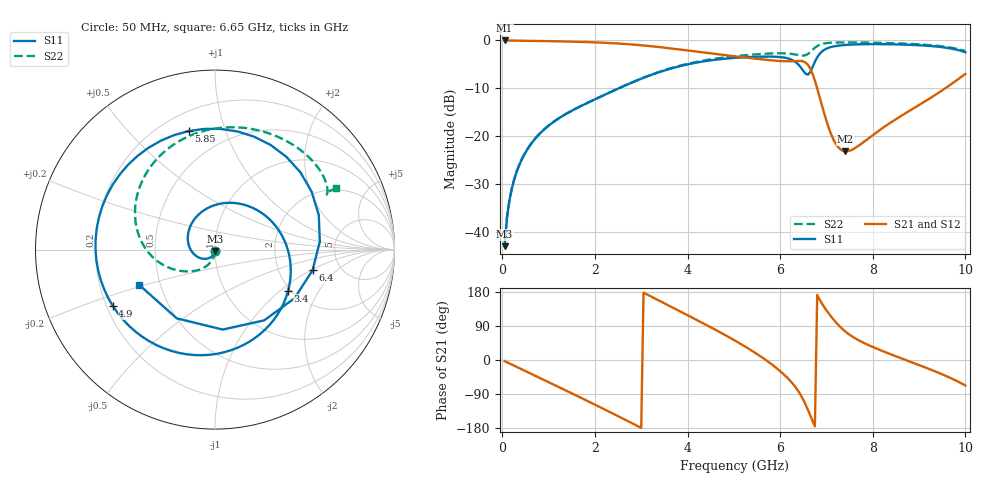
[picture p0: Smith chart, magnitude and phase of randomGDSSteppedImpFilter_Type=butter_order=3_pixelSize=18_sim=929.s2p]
! freq	dB(S11)	phase(S11)	dB(S12)	phase(S12)
!  dB(S21)	phase(S21)	dB(S22)	phase(S22)
!S-par simulation data
#  GHz  S  DB  R 50
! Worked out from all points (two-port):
!   200 points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, 50 MHz to 10 GHz, reference 50 ohm
!   highest |S21| = 0.00 dB at 50 MHz (marker M1); lowest = -23.2 dB at 7.4 GHz (marker M2)
!   |S21| within 3 dB of the highest: start of sweep to 4.73 GHz
!   lowest |S11| = -43.0 dB at 50 MHz (marker M3), VSWR 1.01, Z = 50 - j0.703 ohm
!   |S11| at or under -10 dB: start of sweep to 2.52 GHz
!   |S22| runs from -43.0 to -0.4 dB; largest |S21 - S12| = 0
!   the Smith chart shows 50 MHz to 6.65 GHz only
!   S11 on the Smith chart (normalised r, x): 50 MHz: 1.00, -0.01; 3.4 GHz: 1.93, -1.14; 4.9 GHz: 0.23, -0.24; 5.85 GHz: 0.31, +0.76; 6.4 GHz: 3.12, -1.04; 6.65 GHz: 0.38, -0.19
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0.05  -43.05 -91.6  -0.00 -3.0  -0.00 -3.0  -43.00 -89.6
0.2  -31.24 -106.0  -0.02 -11.8  -0.02 -11.8  -31.19 -96.6
0.5  -23.45 -131.5  -0.06 -29.3  -0.06 -29.3  -23.40 -107.9
1.75  -13.48 118.0  -0.32 -102.7  -0.32 -102.7  -13.48 -145.3
2.6  -9.65 39.0  -0.71 -154.3  -0.71 -154.3  -9.64 -169.2
3.4  -6.60 -29.5  -1.40 155.9  -1.40 155.9  -6.54 160.1
4.2  -4.63 -93.0  -2.36 105.6  -2.36 105.6  -4.48 123.6
4.9  -3.74 -151.3  -3.20 59.9  -3.20 59.9  -3.44 90.6
5.05  -3.63 -165.1  -3.37 49.5  -3.37 49.5  -3.28 83.6
5.45  -3.43 153.5  -3.80 19.8  -3.80 19.8  -2.93 65.4
5.85  -3.39 102.4  -4.20 -14.5  -4.20 -14.5  -2.71 47.7
6.15  -3.71 52.3  -4.36 -46.3  -4.36 -46.3  -2.73 34.9
6.4  -5.10 -11.9  -4.27 -83.6  -4.27 -83.6  -3.07 26.9
6.55  -6.98 -84.5  -4.64 -117.6  -4.64 -117.6  -3.08 26.6
6.65  -6.62 -155.3  -5.89 -146.3  -5.89 -146.3  -2.43 26.8
6.7  -5.57 171.7  -7.00 -161.0  -7.00 -161.0  -1.96 25.4
6.8  -3.53 121.1  -10.02 171.8  -10.02 171.8  -1.18 19.9
6.95  -1.98 72.8  -15.21 139.8  -15.21 139.8  -0.64 9.9
7.4  -0.95 -0.7  -23.20 75.9  -23.20 75.9  -0.41 -14.0
8.35  -0.80 -77.8  -17.42 16.8  -17.42 16.8  -0.56 -53.1
9.15  -1.09 -124.6  -12.62 -20.5  -12.62 -20.5  -0.92 -82.9
10  -2.48 177.0  -7.00 -67.3  -7.00 -67.3  -2.24 -116.4
